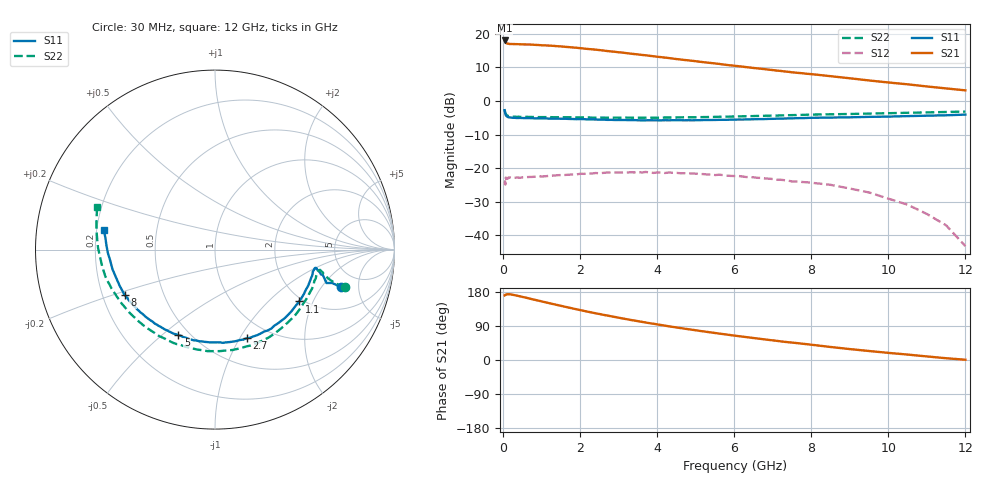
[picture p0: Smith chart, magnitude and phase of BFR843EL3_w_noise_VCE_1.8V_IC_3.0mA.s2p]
! Infineon Technologies  Discrete & RF Semiconductors
! BFR843EL3
! VCE =  1.8 V,  IC =  3.0 mA
! Common Emitter S-Parameters:  Aug 2013
# GHz  S  MA  R  50
!  f  S11  S21  S12  S22
! GHz  MAG  ANG  MAG  ANG  MAG  ANG  MAG  ANG
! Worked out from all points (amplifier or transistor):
!   103 points, 30 MHz to 12 GHz, reference 50 ohm
!   highest |S21| = 18.1 dB at 30 MHz (marker M1)
!   |S21| within 3 dB of that: start of sweep to 2.596 GHz
!   unconditionally stable (mu >= 1): 210.9 MHz to 408.4 MHz; 7.042 GHz to end of sweep
!   at 400 MHz: K = 1.00, MAG = 19.7 dB, |S12| = -22.8 dB
!   at 3.7 GHz: K = 0.74, MSG = 17.4 dB, |S12| = -21.1 dB
!   at 12 GHz: K = 15.12, MAG = 8.4 dB, |S12| = -43.2 dB
!   lowest NFmin = 1.00 dB at 450 MHz
!   S11 on the Smith chart (normalised r, x): 30 MHz: 3.49, -3.13; 1.1 GHz: 1.91, -1.58; 2.7 GHz: 0.79, -1.07; 5 GHz: 0.44, -0.57; 8 GHz: 0.29, -0.22; 12 GHz: 0.23, +0.08
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0.03  0.731 -16.6  7.994 170.5  0.0569 33.7  0.7523 -16.2
0.04  0.6782 -15.9  7.704 171.0  0.0636 30.1  0.7012 -15.7
0.05  0.6486 -16.7  7.567 172.1  0.057 33.9  0.6645 -14.8
0.06  0.618 -13.3  7.387 172.0  0.0725 23.5  0.6468 -14.1
0.08  0.5983 -12.3  7.235 173.1  0.0707 16.6  0.6205 -12.7
0.2  0.5665 -10.4  7.077 172.9  0.0717 7.5  0.5898 -11.4
0.7  0.5567 -21.2  6.944 161.6  0.0741 3.1  0.5797 -25.0
1.1  0.551 -31.6  6.745 152.1  0.076 3.0  0.5772 -37.5
1.7  0.5419 -47.0  6.364 138.2  0.08 1.6  0.5734 -55.6
2.1  0.5381 -56.8  6.046 129.4  0.0824 -0.7  0.5699 -67.0
2.7  0.5247 -70.2  5.56 117.3  0.0861 -4.8  0.5666 -82.4
3.1  0.5222 -78.8  5.27 109.6  0.0861 -7.0  0.5659 -91.5
3.6  0.5166 -88.7  4.865 100.6  0.0865 -10.9  0.5647 -102.5
4.1  0.5168 -97.8  4.507 92.2  0.0859 -14.2  0.568 -111.8
5  0.5185 -113.2  3.919 78.4  0.0829 -21.5  0.5745 -127.5
6.1  0.5315 -129.2  3.308 63.1  0.0766 -29.8  0.5917 -143.4
6.9  0.5431 -139.9  2.936 52.9  0.0697 -34.3  0.6049 -153.7
8  0.5634 -153.5  2.519 40.3  0.0608 -41.4  0.629 -166.3
8.5  0.568 -159.1  2.347 34.3  0.0565 -46.0  0.6356 -171.7
10.5  0.5972 -178.2  1.776 14.3  0.0286 -57.8  0.6691 170.7
11.5  0.6142 173.8  1.543 4.7  0.0141 -56.2  0.6875 163.4
12  0.6288 170.2  1.444 0.7  0.0069 -20.6  0.6982 160.1
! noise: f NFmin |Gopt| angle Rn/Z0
0.45  1  0.3  5  0.24
0.9  1.01  0.29  19  0.22
1.5  1.04  0.3  32  0.21
1.9  1.06  0.3  37  0.2
2.4  1.09  0.31  47  0.2
3.5  1.15  0.3  69  0.17
5.5  1.27  0.33  105  0.13
8  1.41  0.4  147  0.09
10  1.52  0.45  198  0.06
